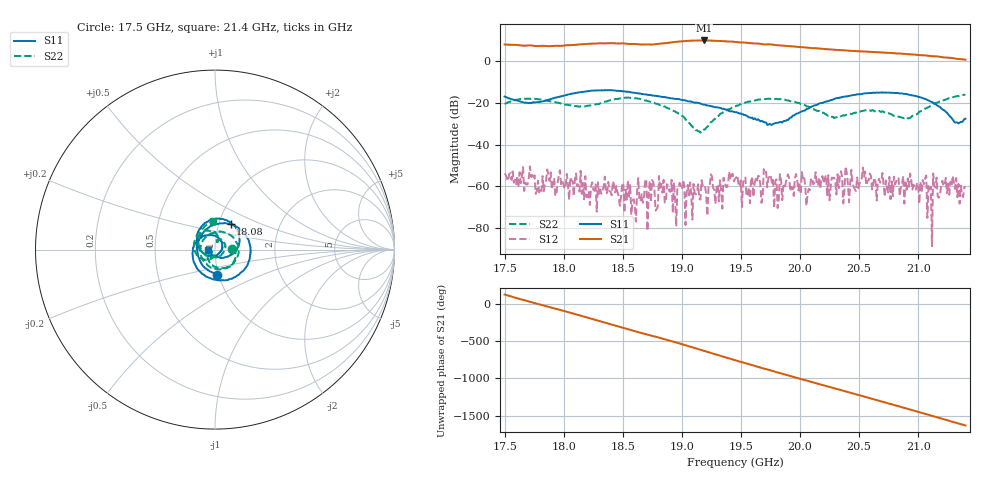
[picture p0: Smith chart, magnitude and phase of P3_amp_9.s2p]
!Created with skrf (http://scikit-rf.org).
# GHz S RI R 50.0
!freq ReS11 ImS11 ReS21 ImS21 ReS12 ImS12 ReS22 ImS22
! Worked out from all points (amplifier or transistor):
!   401 points, 17.5 GHz to 21.4 GHz, reference 50 ohm
!   highest |S21| = 9.8 dB at 19.19 GHz (marker M1)
!   |S21| within 3 dB of that: start of sweep to 19.97 GHz
!   unconditionally stable (mu >= 1): start of sweep to end of sweep
!   at 18.14 GHz: K = 81.87, MAG = 8.1 dB, |S12| = -52.5 dB
!   at 19.45 GHz: K = 113.11, MAG = 9.1 dB, |S12| = -56.3 dB
!   at 21.4 GHz: K = 448.35, MAG = 0.7 dB, |S12| = -59.9 dB
!   S11 on the Smith chart (normalised r, x): 17.5 GHz: 0.99, -0.28; 18.08 GHz: 1.14, +0.33; 21.4 GHz: 0.92, -0.01
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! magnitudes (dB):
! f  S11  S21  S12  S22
! 17.5 GHz  -17.0  7.8  -53.8  -20.5
! 18.08 GHz  -15.6  7.5  -57.5  -21.4
! 18.15 GHz  -14.9  7.9  -63.5  -21.7
! 18.54 GHz  -14.7  8.1  -57.0  -17.5
! 18.59 GHz  -15.2  8.1  -66.1  -17.8
! 18.64 GHz  -15.6  7.8  -65.9  -18.1
! 18.81 GHz  -16.9  8.2  -55.0  -20.9
! 19.19 GHz  -20.9  9.8  -60.3  -32.8
! 19.32 GHz  -22.5  9.5  -57.0  -25.4
! 19.45 GHz  -24.5  9.1  -56.3  -21.6
! 19.56 GHz  -26.5  8.6  -63.6  -19.5
! 19.74 GHz  -30.1  7.9  -55.0  -18.0
! 19.8 GHz  -29.6  7.5  -56.6  -18.1
! 19.89 GHz  -28.3  7.1  -55.5  -18.8
! 20.06 GHz  -22.9  6.3  -63.6  -21.8
! 20.1 GHz  -21.7  6.1  -56.3  -22.8
! 20.53 GHz  -15.7  4.5  -51.0  -23.9
! 20.76 GHz  -15.2  3.8  -55.4  -25.2
! 21.05 GHz  -18.0  2.7  -58.9  -23.4
! 21.1 GHz  -19.1  2.4  -61.1  -21.7
! 21.15 GHz  -20.7  2.2  -60.5  -20.2
! 21.4 GHz  -27.6  0.6  -59.9  -16.1
